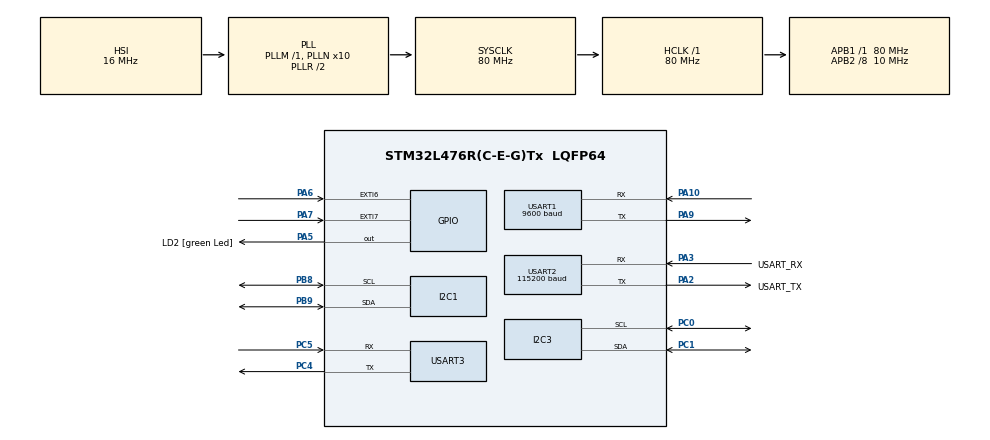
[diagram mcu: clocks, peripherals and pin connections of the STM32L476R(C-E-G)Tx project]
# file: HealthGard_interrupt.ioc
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I2C1.Timing=0x10909CEC
I2C3.Timing=0x10909CEC
Mcu.Family=STM32L4
Mcu.Name=STM32L476R(C-E-G)Tx
Mcu.Package=LQFP64
NVIC.EXTI9_5_IRQn=true\:0\:0\:false\:false\:true\:true\:true\:true
NVIC.PriorityGroup=NVIC_PRIORITYGROUP_4
PA10.Mode=Asynchronous
PA10.Signal=USART1_RX
PA13\ (JTMS-SWDIO).GPIO_Label=TMS
PA13\ (JTMS-SWDIO).Mode=Serial_Wire
PA13\ (JTMS-SWDIO).Signal=SYS_JTMS-SWDIO
PA14\ (JTCK-SWCLK).GPIO_Label=TCK
PA14\ (JTCK-SWCLK).Mode=Serial_Wire
PA14\ (JTCK-SWCLK).Signal=SYS_JTCK-SWCLK
PA2.GPIO_Label=USART_TX
PA2.GPIO_Mode=GPIO_MODE_AF_PP
PA2.GPIO_PuPd=GPIO_NOPULL
PA2.GPIO_Speed=GPIO_SPEED_FREQ_VERY_HIGH
PA2.Mode=Asynchronous
PA2.Signal=USART2_TX
PA3.GPIO_Label=USART_RX
PA3.GPIO_Mode=GPIO_MODE_AF_PP
PA3.GPIO_PuPd=GPIO_NOPULL
PA3.GPIO_Speed=GPIO_SPEED_FREQ_VERY_HIGH
PA3.Mode=Asynchronous
PA3.Signal=USART2_RX
PA5.GPIO_Label=LD2 [green Led]
PA5.GPIO_ModeDefaultOutputPP=GPIO_MODE_OUTPUT_PP
PA5.GPIO_PuPd=GPIO_NOPULL
PA5.GPIO_Speed=GPIO_SPEED_FREQ_LOW
PA5.Signal=GPIO_Output
PA6.GPIO_ModeDefaultEXTI=GPIO_MODE_IT_FALLING
PA6.GPIO_PuPd=GPIO_PULLUP
PA6.Signal=GPXTI6
PA7.GPIO_PuPd=GPIO_NOPULL
PA7.Signal=GPXTI7
PA9.Mode=Asynchronous
PA9.Signal=USART1_TX
PB3\ (JTDO-TRACESWO).GPIO_Label=SWO
PB3\ (JTDO-TRACESWO).Signal=SYS_JTDO-SWO
PB8.Mode=I2C
PB8.Signal=I2C1_SCL
PB9.Mode=I2C
PB9.Signal=I2C1_SDA
PC0.Mode=I2C
PC0.Signal=I2C3_SCL
PC1.Mode=I2C
PC1.Signal=I2C3_SDA
PC14-OSC32_IN\ (PC14).Mode=LSE-External-Oscillator
PC14-OSC32_IN\ (PC14).Signal=RCC_OSC32_IN
PC15-OSC32_OUT\ (PC15).Mode=LSE-External-Oscillator
PC15-OSC32_OUT\ (PC15).Signal=RCC_OSC32_OUT
PC4.Mode=Asynchronous
PC4.Signal=USART3_TX
PC5.Mode=Asynchronous
PC5.Signal=USART3_RX
PH0-OSC_IN\ (PH0).Signal=RCC_OSC_IN
PH1-OSC_OUT\ (PH1).Signal=RCC_OSC_OUT
ProjectManager.HeapSize=0x200
ProjectManager.StackSize=0x400
ProjectManager.TargetToolchain=STM32CubeIDE
RCC.ADCFreq_Value=64000000
RCC.AHBFreq_Value=80000000
RCC.APB1Freq_Value=80000000
RCC.APB1TimFreq_Value=80000000
RCC.APB2CLKDivider=RCC_HCLK_DIV8
RCC.APB2Freq_Value=10000000
RCC.APB2TimFreq_Value=20000000
RCC.CortexFreq_Value=80000000
RCC.HCLKFreq_Value=80000000
RCC.HSE_VALUE=8000000
RCC.HSI_VALUE=16000000
RCC.MSI_VALUE=4000000
RCC.PLLN=10
RCC.PLLSourceVirtual=RCC_PLLSOURCE_HSI
RCC.PREFETCH_ENABLE=1
RCC.SYSCLKFreq_VALUE=80000000
RCC.SYSCLKSource=RCC_SYSCLKSOURCE_PLLCLK
RCC.USBFreq_Value=64000000
RCC.VCOOutputFreq_Value=160000000
TIM1.Prescaler=20000-1
USART1.BaudRate=9600
USART1.VirtualMode-Asynchronous=VM_ASYNC
USART2.BaudRate=115200
USART2.Parity=PARITY_NONE
USART2.VirtualMode-Asynchronous=VM_ASYNC
USART3.VirtualMode-Asynchronous=VM_ASYNC
VP_TIM1_VS_ClockSourceINT.Mode=Internal
board=NUCLEO-L476RG

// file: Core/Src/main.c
#include "main.h"

/* USER CODE BEGIN Includes */
#include <string.h>
#include <stdio.h>
#include "mpu6050.h"
#include "max_30102.h"

/* USER CODE END Includes */

I2C_HandleTypeDef hi2c1;
I2C_HandleTypeDef hi2c3;

TIM_HandleTypeDef htim1;

UART_HandleTypeDef huart1;
UART_HandleTypeDef huart2;
UART_HandleTypeDef huart3;

/* USER CODE BEGIN PV */
int fall = 0;
int calibstatus = 0;
uint8_t buf[20];
uint8_t heartRate = 0;
uint8_t spo2 = 0;
uint16_t offset;
int16_t Accel_X_RAW, Accel_Y_RAW, Accel_Z_RAW, Gyro_X_RAW, Gyro_Y_RAW,
		Gyro_Z_RAW, TEMP_RAW, gyro_x_offset, gyro_y_offset, gyro_z_offset,
		accel_x_offset, accel_y_offset, accel_z_offset;
float Accel_mag = 0;
float Ax = 0;
float Ay = 0;
float Az = 0;
float Gx = 0;
float Gy = 0;
float Gz = 0;
float ax_filtred = 0;
float ay_filtred = 0;
float az_filtred = 0;
float gx_filtred = 0;
float gy_filtred = 0;
float gz_filtred = 0;
float ALPHA = 0.5;
float pitch = 0;
float roll = 0;
float accel_mag_threshold = 14.7f;
char fall_str[3];
/* USER CODE END PV */

void SystemClock_Config(void);
static void MX_GPIO_Init(void);
static void MX_USART2_UART_Init(void);
static void MX_I2C1_Init(void);
static void MX_USART1_UART_Init(void);
static void MX_TIM1_Init(void);
static void MX_I2C3_Init(void);
static void MX_USART3_UART_Init(void);
/* USER CODE BEGIN PFP */

// int call back
void HAL_GPIO_EXTI_Callback(uint16_t GPIO_Pin) {
	//execute mpu6050 code
	if (GPIO_Pin == GPIO_PIN_7) {
		if (calibstatus == 1) {

			accel_read();
			gyro_read();
			accelmag();
			pitchandroll(0.95);

		}
	} else if (GPIO_Pin == GPIO_PIN_6) {
		//execute mpu6050 code
		HAL_GPIO_TogglePin(GPIOA, GPIO_PIN_5);
		MAX30102_Calc();
		spo2 = max30102_getSpO2();
		heartRate = max30102_getHeartRate();
		sprintf((char*) buf, "%u BPM %u SpO2\r\n", ((unsigned int) heartRate),
				((unsigned int) spo2));
		send_USART3((char *)buf);
		//when debugging with the serial console please uncomment the line below
		//send_USART2((char *)buf);

	}

}
/* USER CODE END PFP */
int main(void)
{
  /* MCU Configuration--------------------------------------------------------*/

  /* Reset of all peripherals, Initializes the Flash interface and the Systick. */
  HAL_Init();

  /* Configure the system clock */
  SystemClock_Config();

  /* Initialize all configured peripherals */
  MX_GPIO_Init();
  MX_USART2_UART_Init();
  MX_I2C1_Init();
  MX_USART1_UART_Init();
  MX_TIM1_Init();
  MX_I2C3_Init();
  MX_USART3_UART_Init();
  /* USER CODE BEGIN 2 */
	MPU6050_init();
	MAX30102_Init();
	MAX30102_SetLEDpulses(0x41, 0x41);
	MPU6050_Calibrate();
  /* USER CODE END 2 */

  /* Infinite loop */
  /* USER CODE BEGIN WHILE */
	while (1) {
		//detect if the fall has occurred
		fall = isfall();
		if (fall == 1) {
			sprintf(fall_str, "%d%c", fall, '\n');
			//Send fall over USART1
			send_USART1(fall_str);
			HAL_Delay(3000);
		}
    /* USER CODE END WHILE */

	}
}
void SystemClock_Config(void)
{
  RCC_OscInitTypeDef RCC_OscInitStruct = {0};
  RCC_ClkInitTypeDef RCC_ClkInitStruct = {0};

  /** Configure the main internal regulator output voltage
  */
  if (HAL_PWREx_ControlVoltageScaling(PWR_REGULATOR_VOLTAGE_SCALE1) != HAL_OK)
  {
    Error_Handler();
  }

  /** Initializes the RCC Oscillators according to the specified parameters
  * in the RCC_OscInitTypeDef structure.
  */
  RCC_OscInitStruct.OscillatorType = RCC_OSCILLATORTYPE_HSI;
  RCC_OscInitStruct.HSIState = RCC_HSI_ON;
  RCC_OscInitStruct.HSICalibrationValue = RCC_HSICALIBRATION_DEFAULT;
  RCC_OscInitStruct.PLL.PLLState = RCC_PLL_ON;
  RCC_OscInitStruct.PLL.PLLSource = RCC_PLLSOURCE_HSI;
  RCC_OscInitStruct.PLL.PLLM = 1;
  RCC_OscInitStruct.PLL.PLLN = 10;
  RCC_OscInitStruct.PLL.PLLP = RCC_PLLP_DIV7;
  RCC_OscInitStruct.PLL.PLLQ = RCC_PLLQ_DIV2;
  RCC_OscInitStruct.PLL.PLLR = RCC_PLLR_DIV2;
  if (HAL_RCC_OscConfig(&RCC_OscInitStruct) != HAL_OK)
  {
    Error_Handler();
  }

  /** Initializes the CPU, AHB and APB buses clocks
  */
  RCC_ClkInitStruct.ClockType = RCC_CLOCKTYPE_HCLK|RCC_CLOCKTYPE_SYSCLK
                              |RCC_CLOCKTYPE_PCLK1|RCC_CLOCKTYPE_PCLK2;
  RCC_ClkInitStruct.SYSCLKSource = RCC_SYSCLKSOURCE_PLLCLK;
  RCC_ClkInitStruct.AHBCLKDivider = RCC_SYSCLK_DIV1;
  RCC_ClkInitStruct.APB1CLKDivider = RCC_HCLK_DIV1;
  RCC_ClkInitStruct.APB2CLKDivider = RCC_HCLK_DIV8;

  if (HAL_RCC_ClockConfig(&RCC_ClkInitStruct, FLASH_LATENCY_4) != HAL_OK)
  {
    Error_Handler();
  }
}

static void MX_I2C1_Init(void)
{

  hi2c1.Instance = I2C1;
  hi2c1.Init.Timing = 0x10909CEC;
  hi2c1.Init.OwnAddress1 = 0;
  hi2c1.Init.AddressingMode = I2C_ADDRESSINGMODE_7BIT;
  hi2c1.Init.DualAddressMode = I2C_DUALADDRESS_DISABLE;
  hi2c1.Init.OwnAddress2 = 0;
  hi2c1.Init.OwnAddress2Masks = I2C_OA2_NOMASK;
  hi2c1.Init.GeneralCallMode = I2C_GENERALCALL_DISABLE;
  hi2c1.Init.NoStretchMode = I2C_NOSTRETCH_DISABLE;
  if (HAL_I2C_Init(&hi2c1) != HAL_OK)
  {
    Error_Handler();
  }

  /** Configure Analogue filter
  */
  if (HAL_I2CEx_ConfigAnalogFilter(&hi2c1, I2C_ANALOGFILTER_ENABLE) != HAL_OK)
  {
    Error_Handler();
  }

  /** Configure Digital filter
  */
  if (HAL_I2CEx_ConfigDigitalFilter(&hi2c1, 0) != HAL_OK)
  {
    Error_Handler();
  }

}

static void MX_I2C3_Init(void)
{

  hi2c3.Instance = I2C3;
  hi2c3.Init.Timing = 0x10909CEC;
  hi2c3.Init.OwnAddress1 = 0;
  hi2c3.Init.AddressingMode = I2C_ADDRESSINGMODE_7BIT;
  hi2c3.Init.DualAddressMode = I2C_DUALADDRESS_DISABLE;
  hi2c3.Init.OwnAddress2 = 0;
  hi2c3.Init.OwnAddress2Masks = I2C_OA2_NOMASK;
  hi2c3.Init.GeneralCallMode = I2C_GENERALCALL_DISABLE;
  hi2c3.Init.NoStretchMode = I2C_NOSTRETCH_DISABLE;
  if (HAL_I2C_Init(&hi2c3) != HAL_OK)
  {
    Error_Handler();
  }

  /** Configure Analogue filter
  */
  if (HAL_I2CEx_ConfigAnalogFilter(&hi2c3, I2C_ANALOGFILTER_ENABLE) != HAL_OK)
  {
    Error_Handler();
  }

  /** Configure Digital filter
  */
  if (HAL_I2CEx_ConfigDigitalFilter(&hi2c3, 0) != HAL_OK)
  {
    Error_Handler();
  }

}

static void MX_TIM1_Init(void)
{

  TIM_ClockConfigTypeDef sClockSourceConfig = {0};
  TIM_MasterConfigTypeDef sMasterConfig = {0};

  htim1.Instance = TIM1;
  htim1.Init.Prescaler = 20000-1;
  htim1.Init.CounterMode = TIM_COUNTERMODE_UP;
  htim1.Init.Period = 65535;
  htim1.Init.ClockDivision = TIM_CLOCKDIVISION_DIV1;
  htim1.Init.RepetitionCounter = 0;
  htim1.Init.AutoReloadPreload = TIM_AUTORELOAD_PRELOAD_DISABLE;
  if (HAL_TIM_Base_Init(&htim1) != HAL_OK)
  {
    Error_Handler();
  }
  sClockSourceConfig.ClockSource = TIM_CLOCKSOURCE_INTERNAL;
  if (HAL_TIM_ConfigClockSource(&htim1, &sClockSourceConfig) != HAL_OK)
  {
    Error_Handler();
  }
  sMasterConfig.MasterOutputTrigger = TIM_TRGO_RESET;
  sMasterConfig.MasterOutputTrigger2 = TIM_TRGO2_RESET;
  sMasterConfig.MasterSlaveMode = TIM_MASTERSLAVEMODE_DISABLE;
  if (HAL_TIMEx_MasterConfigSynchronization(&htim1, &sMasterConfig) != HAL_OK)
  {
    Error_Handler();
  }

}

static void MX_USART1_UART_Init(void)
{

  huart1.Instance = USART1;
  huart1.Init.BaudRate = 9600;
  huart1.Init.WordLength = UART_WORDLENGTH_8B;
  huart1.Init.StopBits = UART_STOPBITS_1;
  huart1.Init.Parity = UART_PARITY_NONE;
  huart1.Init.Mode = UART_MODE_TX_RX;
  huart1.Init.HwFlowCtl = UART_HWCONTROL_NONE;
  huart1.Init.OverSampling = UART_OVERSAMPLING_16;
  huart1.Init.OneBitSampling = UART_ONE_BIT_SAMPLE_DISABLE;
  huart1.AdvancedInit.AdvFeatureInit = UART_ADVFEATURE_NO_INIT;
  if (HAL_UART_Init(&huart1) != HAL_OK)
  {
    Error_Handler();
  }

}

static void MX_USART2_UART_Init(void)
{

  huart2.Instance = USART2;
  huart2.Init.BaudRate = 115200;
  huart2.Init.WordLength = UART_WORDLENGTH_8B;
  huart2.Init.StopBits = UART_STOPBITS_1;
  huart2.Init.Parity = UART_PARITY_NONE;
  huart2.Init.Mode = UART_MODE_TX_RX;
  huart2.Init.HwFlowCtl = UART_HWCONTROL_NONE;
  huart2.Init.OverSampling = UART_OVERSAMPLING_16;
  huart2.Init.OneBitSampling = UART_ONE_BIT_SAMPLE_DISABLE;
  huart2.AdvancedInit.AdvFeatureInit = UART_ADVFEATURE_NO_INIT;
  if (HAL_UART_Init(&huart2) != HAL_OK)
  {
    Error_Handler();
  }

}

static void MX_USART3_UART_Init(void)
{

  huart3.Instance = USART3;
  huart3.Init.BaudRate = 115200;
  huart3.Init.WordLength = UART_WORDLENGTH_8B;
  huart3.Init.StopBits = UART_STOPBITS_1;
  huart3.Init.Parity = UART_PARITY_NONE;
  huart3.Init.Mode = UART_MODE_TX_RX;
  huart3.Init.HwFlowCtl = UART_HWCONTROL_NONE;
  huart3.Init.OverSampling = UART_OVERSAMPLING_16;
  huart3.Init.OneBitSampling = UART_ONE_BIT_SAMPLE_DISABLE;
  huart3.AdvancedInit.AdvFeatureInit = UART_ADVFEATURE_NO_INIT;
  if (HAL_UART_Init(&huart3) != HAL_OK)
  {
    Error_Handler();
  }

}

static void MX_GPIO_Init(void)
{
  GPIO_InitTypeDef GPIO_InitStruct = {0};

  /* GPIO Ports Clock Enable */
  __HAL_RCC_GPIOC_CLK_ENABLE();
  __HAL_RCC_GPIOH_CLK_ENABLE();
  __HAL_RCC_GPIOA_CLK_ENABLE();
  __HAL_RCC_GPIOB_CLK_ENABLE();

  /*Configure GPIO pin Output Level */
  HAL_GPIO_WritePin(LD2_GPIO_Port, LD2_Pin, GPIO_PIN_RESET);

  /*Configure GPIO pin : LD2_Pin */
  GPIO_InitStruct.Pin = LD2_Pin;
  GPIO_InitStruct.Mode = GPIO_MODE_OUTPUT_PP;
  GPIO_InitStruct.Pull = GPIO_NOPULL;
  GPIO_InitStruct.Speed = GPIO_SPEED_FREQ_LOW;
  HAL_GPIO_Init(LD2_GPIO_Port, &GPIO_InitStruct);

  /*Configure GPIO pin : PA6 */
  GPIO_InitStruct.Pin = GPIO_PIN_6;
  GPIO_InitStruct.Mode = GPIO_MODE_IT_FALLING;
  GPIO_InitStruct.Pull = GPIO_PULLUP;
  HAL_GPIO_Init(GPIOA, &GPIO_InitStruct);

  /*Configure GPIO pin : PA7 */
  GPIO_InitStruct.Pin = GPIO_PIN_7;
  GPIO_InitStruct.Mode = GPIO_MODE_IT_RISING;
  GPIO_InitStruct.Pull = GPIO_NOPULL;
  HAL_GPIO_Init(GPIOA, &GPIO_InitStruct);

  /* EXTI interrupt init*/
  HAL_NVIC_SetPriority(EXTI9_5_IRQn, 0, 0);
  HAL_NVIC_EnableIRQ(EXTI9_5_IRQn);

}

/* USER CODE BEGIN 4 */

//Serial communication functions

void send_USART1(char *data) {
	HAL_UART_Transmit(&huart1, (uint8_t*) data, strlen(data), HAL_MAX_DELAY);
}
void send_USART2(char *data) {
	HAL_UART_Transmit(&huart2, (uint8_t*) data, strlen(data), HAL_MAX_DELAY);
}
void send_USART3(char *data) {
	HAL_UART_Transmit(&huart3, (uint8_t*) data, strlen(data), HAL_MAX_DELAY);
}
/* USER CODE END 4 */

void Error_Handler(void)
{
	__disable_irq();
	while (1) {
	}
}
